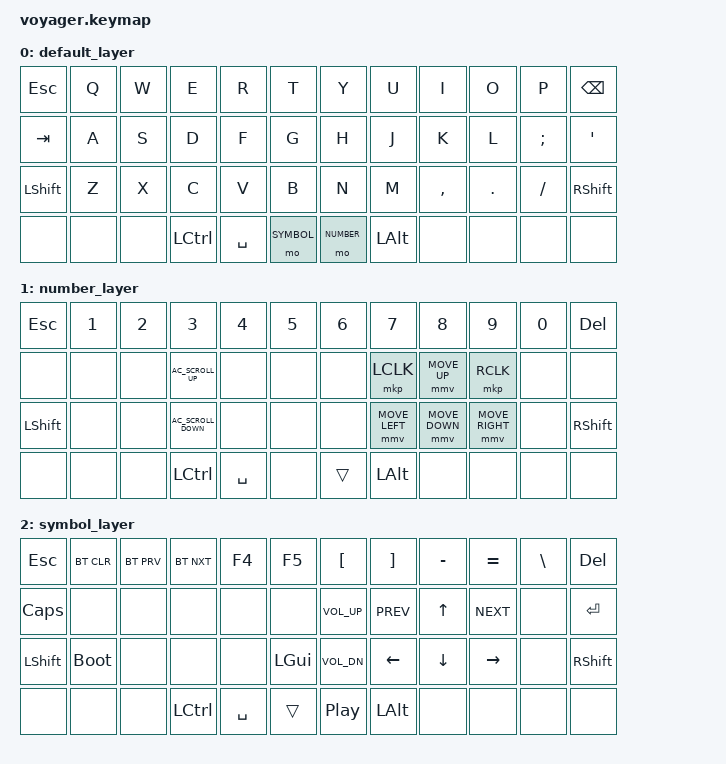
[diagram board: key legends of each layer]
#include <behaviors.dtsi>
#include <dt-bindings/zmk/keys.h>
#include <dt-bindings/zmk/bt.h>
#include <dt-bindings/zmk/mouse.h>

#define DEFAULT 0
#define NUMBER 1
#define SYMBOL 2



/ {
    keymap {
        compatible = "zmk,keymap";

// ----------------------------------------------------------------------------------------------------
//           |  esc     |   Q     |   W     |   E     |   R     |   T   |          |   Y      |   U    |   I      |   O    |   P      |   bs   | 
//           |  tab     |   A     |   S     |   D     |   F     |   G   |          |   H      |   J    |   K      |   L    |   ;      |   '    |
//           | LSHIFT   |   Z     |   X     |   C     |   V     |   B   |          |   N      |   M    |   ,      |   .    |   /      | RSHIFT |
//           |          |         |         | ctrl    | space   |  sym  |          |  num     |  alt   |          |        |          |        |

        default_layer {
            bindings = <
                &kp ESC    &kp Q     &kp W    &kp E     &kp R     &kp T             &kp Y      &kp U    &kp I     &kp O     &kp P     &kp BSPC
                &kp TAB    &kp A     &kp S    &kp D     &kp F     &kp G             &kp H      &kp J    &kp K     &kp L     &kp SEMI  &kp APOS
                &kp LSHFT  &kp Z     &kp X    &kp C     &kp V     &kp B             &kp N      &kp M    &kp COMMA &kp DOT   &kp SLASH &kp RSHFT
                &none      &none     &none    &kp LCTRL &kp SPACE &mo SYMBOL        &mo NUMBER &kp LALT &none     &none     &none     &none
            >;
        };

// ----------------------------------------------------------------------------------------------------
//           |  esc     |   Q     |   W     |   E     |   R     |   T   |          |   Y      |   U    |   I      |   O    |   P      |   bs   | 
//           |  tab     |   A     |   S     |   D     |   F     |   G   |          |   H      |   J    |   K      |   L    |   ;      |   '    |
//           | LSHIFT   |   Z     |   X     |   C     |   V     |   B   |          |   N      |   M    |   ,      |   .    |   /      | RSHIFT |
//           |          |         |         | ctrl    | space   |  sym  |          |  num     |  alt   |          |        |          |        |

        number_layer {
            bindings = <
                &kp ESC    &kp N1    &kp N2  &kp N3                &kp N4    &kp N5            &kp N6     &kp N7          &kp N8         &kp N9          &kp N0    &kp DEL
                &none      &none     &none   &kp C_AC_SCROLL_UP    &none     &none             &none      &mkp LCLK       &mmv MOVE_UP   &mkp RCLK       &none     &none
                &kp LSHFT  &none     &none   &kp C_AC_SCROLL_DOWN  &none     &none             &none      &mmv MOVE_LEFT  &mmv MOVE_DOWN &mmv MOVE_RIGHT &none     &kp RSHFT
                &none      &none     &none   &kp LCTRL             &kp SPACE &none             &trans     &kp LALT        &none          &none           &none     &none
            >;
        };

        symbol_layer {
            bindings = <
                &kp ESC    &bt BT_CLR  &bt BT_PRV &bt BT_NXT &kp F4     &kp F5            &kp LBKT     &kp RBKT   &kp MINUS &kp EQUAL  &kp BSLH  &kp DEL
                &kp CAPS   &none       &none      &none      &none      &none             &kp C_VOL_UP &kp C_PREV &kp UP    &kp C_NEXT &none     &kp ENTER
                &kp LSHFT  &bootloader &none      &none      &none      &kp LGUI          &kp C_VOL_DN &kp LEFT   &kp DOWN  &kp RIGHT  &none     &kp RSHFT
                &none      &none       &none      &kp LCTRL  &kp SPACE  &trans            &kp C_PP     &kp LALT   &none     &none      &none     &none
            >;
        };


    };

  
};

&nice_view_spi {
    cs-gpios = <&gpio1 7 GPIO_ACTIVE_HIGH>;
};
